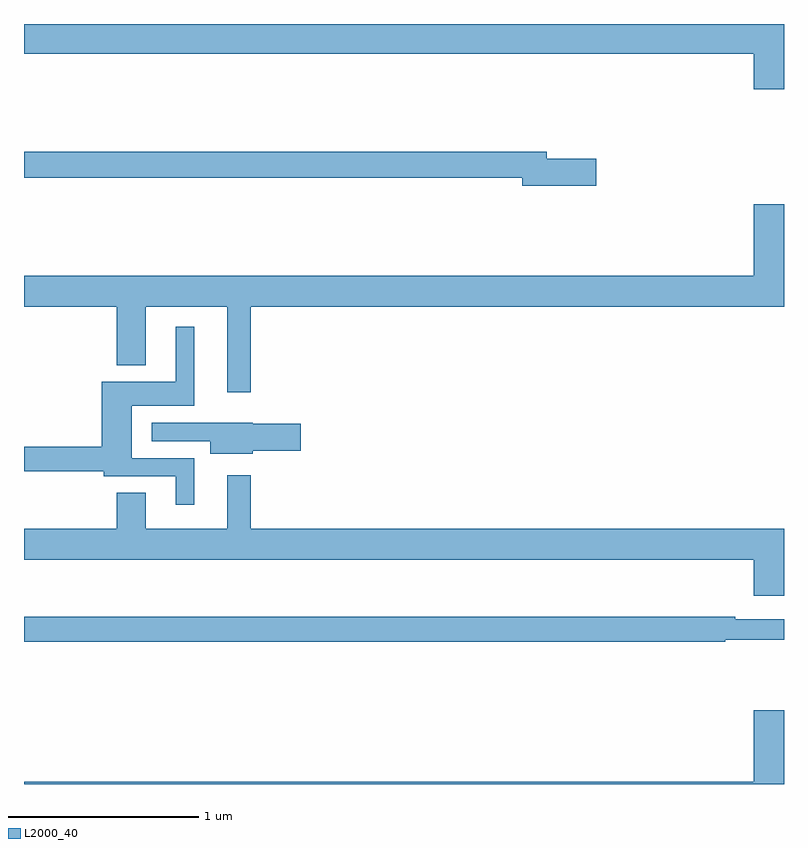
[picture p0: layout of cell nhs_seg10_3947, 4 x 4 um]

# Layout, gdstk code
import gdstk
lib = gdstk.Library(unit=1e-6, precision=1e-09)
def P(c, l, *ps):  # polygons
    for p in ps: c.add(gdstk.Polygon(p, *l))
L2000_40 = (2000, 40)

nhs_seg10_3947 = lib.new_cell('nhs_seg10_3947')
P(nhs_seg10_3947, L2000_40, [(333,1272.5),(329,1272.5),(329,1272.344),(332.84,1272.344),(332.84,1272.156),(333,1272.156)],
  [(332.011,1271.792),(331.75,1271.792),(331.75,1271.828),(329,1271.828),(329,1271.692),(331.622,1271.692),(331.622,1271.65),(332.011,1271.65)],
  [(330.193,1271.012),(333,1271.012),(333,1271.551),(332.84,1271.551),(332.84,1271.176),(329,1271.176),(329,1271.012),(329.489,1271.012),(329.489,1270.703),(329.641,1270.703),(329.641,1271.012),(330.071,1271.012),(330.071,1270.563),(330.193,1270.563)],
  [(329.896,1270.215),(329.566,1270.215),(329.566,1270.49),(329.896,1270.49),(329.896,1270.906),(329.798,1270.906),(329.798,1270.618),(329.408,1270.618),(329.408,1270.274),(329,1270.274),(329,1270.146),(329.42,1270.146),(329.42,1270.119),(329.798,1270.119),(329.798,1269.969),(329.896,1269.969)],
  [(330.204,1270.255),(330.457,1270.255),(330.457,1270.397),(330.204,1270.397),(330.204,1270.402),(329.985,1270.402),(329.985,1270.401),(329.673,1270.401),(329.673,1270.305),(329.981,1270.305),(329.981,1270.238),(330.204,1270.238)],
  [(333,1269.844),(330.193,1269.844),(330.193,1270.126),(330.071,1270.126),(330.071,1269.844),(329.641,1269.844),(329.641,1270.034),(329.489,1270.034),(329.489,1269.844),(329,1269.844),(329,1269.68),(332.84,1269.68),(332.84,1269.492),(333,1269.492)],
  [(332.69,1269.258),(333,1269.258),(333,1269.366),(332.744,1269.366),(332.744,1269.379),(329,1269.379),(329,1269.25),(332.69,1269.25)],
  [(333,1268.887),(332.84,1268.887),(332.84,1268.512),(329,1268.512),(329,1268.5),(333,1268.5)])

lib.write_gds('nhs_seg10_3947.gds')
